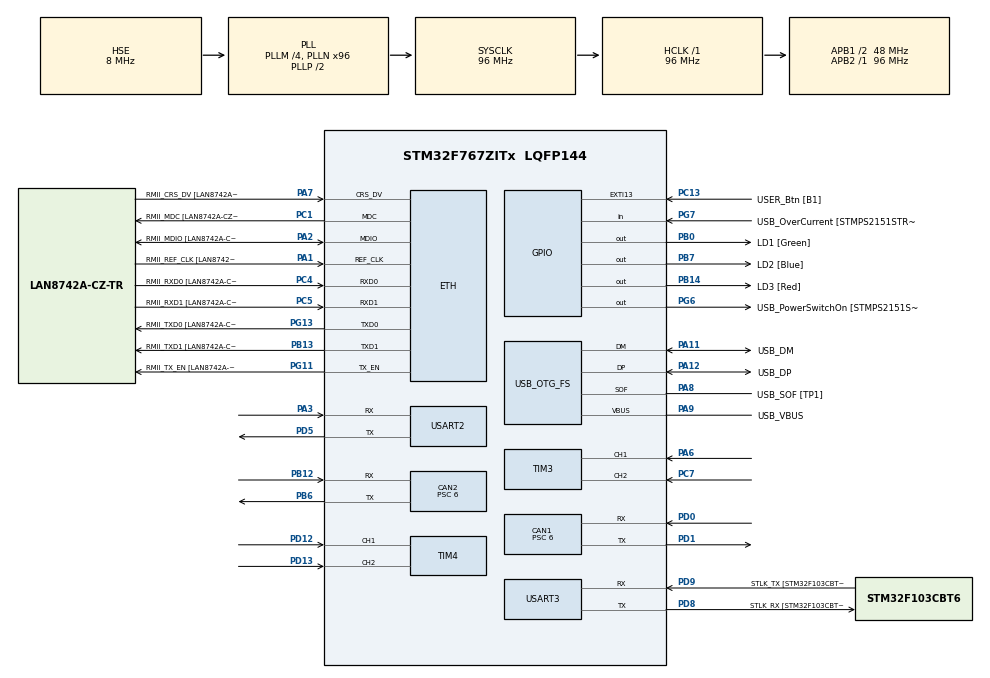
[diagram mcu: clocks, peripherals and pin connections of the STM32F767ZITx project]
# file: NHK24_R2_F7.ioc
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CAN1.BS1=CAN_BS1_6TQ
CAN1.CalculateBaudRate=1000000
CAN1.CalculateTimeBit=1000
CAN1.CalculateTimeQuantum=125.0
CAN1.Prescaler=6
CAN1.TXFP=ENABLE
CAN2.BS1=CAN_BS1_6TQ
CAN2.CalculateBaudRate=1000000
CAN2.CalculateTimeBit=1000
CAN2.CalculateTimeQuantum=125.0
CAN2.Prescaler=6
CAN2.TXFP=ENABLE
Dma.Request0=USART3_RX
Dma.Request1=USART3_TX
Dma.Request2=USART2_TX
Dma.USART2_TX.2.Direction=DMA_MEMORY_TO_PERIPH
Dma.USART2_TX.2.FIFOMode=DMA_FIFOMODE_DISABLE
Dma.USART2_TX.2.Instance=DMA1_Stream6
Dma.USART2_TX.2.MemDataAlignment=DMA_MDATAALIGN_BYTE
Dma.USART2_TX.2.MemInc=DMA_MINC_ENABLE
Dma.USART2_TX.2.Mode=DMA_NORMAL
Dma.USART2_TX.2.PeriphDataAlignment=DMA_PDATAALIGN_BYTE
Dma.USART2_TX.2.PeriphInc=DMA_PINC_DISABLE
Dma.USART2_TX.2.Priority=DMA_PRIORITY_LOW
Dma.USART3_RX.0.Direction=DMA_PERIPH_TO_MEMORY
Dma.USART3_RX.0.FIFOMode=DMA_FIFOMODE_DISABLE
Dma.USART3_RX.0.Instance=DMA1_Stream1
Dma.USART3_RX.0.MemDataAlignment=DMA_MDATAALIGN_BYTE
Dma.USART3_RX.0.MemInc=DMA_MINC_ENABLE
Dma.USART3_RX.0.Mode=DMA_CIRCULAR
Dma.USART3_RX.0.PeriphDataAlignment=DMA_PDATAALIGN_BYTE
Dma.USART3_RX.0.PeriphInc=DMA_PINC_DISABLE
Dma.USART3_RX.0.Priority=DMA_PRIORITY_VERY_HIGH
Dma.USART3_TX.1.Direction=DMA_MEMORY_TO_PERIPH
Dma.USART3_TX.1.FIFOMode=DMA_FIFOMODE_DISABLE
Dma.USART3_TX.1.Instance=DMA1_Stream3
Dma.USART3_TX.1.MemDataAlignment=DMA_MDATAALIGN_BYTE
Dma.USART3_TX.1.MemInc=DMA_MINC_ENABLE
Dma.USART3_TX.1.Mode=DMA_NORMAL
Dma.USART3_TX.1.PeriphDataAlignment=DMA_PDATAALIGN_BYTE
Dma.USART3_TX.1.PeriphInc=DMA_PINC_DISABLE
Dma.USART3_TX.1.Priority=DMA_PRIORITY_VERY_HIGH
ETH.MediaInterface=HAL_ETH_RMII_MODE
ETH.PHY_Name=LAN8742A_PHY_ADDRESS
ETH.PHY_Value=0
ETH.PhyAddress=0
FREERTOS.Tasks01=defaultTask,24,3000,StartDefaultTask,Default,NULL,Static,defaultTaskBuffer,defaultTaskControlBlock;LEDTask,8,128,StartLEDTask,Default,NULL,Static,LEDTaskBuffer,LEDTaskControlBlock
FREERTOS.Timers01=C620Timer,C620TimerCallback,osTimerPeriodic,Default,NULL,Static,C620TimerControlBlock
Mcu.Family=STM32F7
Mcu.Name=STM32F767ZITx
Mcu.Package=LQFP144
NVIC.CAN1_RX0_IRQn=true\:5\:0\:false\:false\:true\:true\:true\:true\:true
NVIC.CAN1_RX1_IRQn=true\:5\:0\:false\:false\:true\:true\:true\:true\:true
NVIC.CAN1_TX_IRQn=true\:5\:0\:false\:false\:true\:true\:true\:true\:true
NVIC.CAN2_RX0_IRQn=true\:5\:0\:false\:false\:true\:true\:true\:true\:true
NVIC.CAN2_RX1_IRQn=true\:5\:0\:false\:false\:true\:true\:true\:true\:true
NVIC.CAN2_TX_IRQn=true\:5\:0\:false\:false\:true\:true\:true\:true\:true
NVIC.DMA1_Stream1_IRQn=true\:5\:0\:false\:false\:true\:true\:false\:true\:true
NVIC.DMA1_Stream3_IRQn=true\:5\:0\:false\:false\:true\:true\:false\:true\:true
NVIC.DMA1_Stream6_IRQn=true\:5\:0\:false\:false\:true\:true\:false\:true\:true
NVIC.OTG_FS_IRQn=true\:5\:0\:false\:false\:true\:true\:false\:true\:true
NVIC.PriorityGroup=NVIC_PRIORITYGROUP_4
NVIC.TIM1_UP_TIM10_IRQn=true\:15\:0\:false\:false\:true\:false\:false\:true\:true
NVIC.TimeBase=TIM1_UP_TIM10_IRQn
NVIC.TimeBaseIP=TIM1
NVIC.USART2_IRQn=true\:5\:0\:false\:false\:true\:true\:true\:true\:true
NVIC.USART3_IRQn=true\:5\:0\:false\:false\:true\:true\:true\:true\:true
PA1.GPIO_Label=RMII_REF_CLK [LAN8742A-CZ-TR_REFCLK0]
PA1.Mode=RMII
PA1.Signal=ETH_REF_CLK
PA10.GPIO_Label=USB_ID
PA10.Signal=USB_OTG_FS_ID
PA11.GPIO_Label=USB_DM
PA11.Mode=Device_Only
PA11.Signal=USB_OTG_FS_DM
PA12.GPIO_Label=USB_DP
PA12.Mode=Device_Only
PA12.Signal=USB_OTG_FS_DP
PA13.GPIO_Label=TMS
PA13.Mode=Serial_Wire
PA13.Signal=SYS_JTMS-SWDIO
PA14.GPIO_Label=TCK
PA14.Mode=Serial_Wire
PA14.Signal=SYS_JTCK-SWCLK
PA2.GPIO_Label=RMII_MDIO [LAN8742A-CZ-TR_MDIO]
PA2.Mode=RMII
PA2.Signal=ETH_MDIO
PA3.Mode=Asynchronous
PA3.Signal=USART2_RX
PA6.Signal=S_TIM3_CH1
PA7.GPIO_Label=RMII_CRS_DV [LAN8742A-CZ-TR_CRS_DV]
PA7.Mode=RMII
PA7.Signal=ETH_CRS_DV
PA8.GPIO_Label=USB_SOF [TP1]
PA8.Mode=Activate_SOF_FS
PA8.Signal=USB_OTG_FS_SOF
PA9.GPIO_Label=USB_VBUS
PA9.Mode=Activate_VBUS
PA9.Signal=USB_OTG_FS_VBUS
PB0.GPIO_Label=LD1 [Green]
PB0.Signal=GPIO_Output
PB12.Mode=CAN_Activate
PB12.Signal=CAN2_RX
PB13.GPIO_Label=RMII_TXD1 [LAN8742A-CZ-TR_TXD1]
PB13.Mode=RMII
PB13.Signal=ETH_TXD1
PB14.GPIO_Label=LD3 [Red]
PB14.Signal=GPIO_Output
PB3.GPIO_Label=SWO
PB3.Signal=SYS_JTDO-SWO
PB6.Mode=CAN_Activate
PB6.Signal=CAN2_TX
PB7.GPIO_Label=LD2 [Blue]
PB7.Signal=GPIO_Output
PC1.GPIO_Label=RMII_MDC [LAN8742A-CZ-TR_MDC]
PC1.Mode=RMII
PC1.Signal=ETH_MDC
PC13.GPIO_Label=USER_Btn [B1]
PC13.Signal=GPXTI13
PC14/OSC32_IN.Mode=LSE-External-Oscillator
PC14/OSC32_IN.Signal=RCC_OSC32_IN
PC15/OSC32_OUT.Mode=LSE-External-Oscillator
PC15/OSC32_OUT.Signal=RCC_OSC32_OUT
PC4.GPIO_Label=RMII_RXD0 [LAN8742A-CZ-TR_RXD0]
PC4.Mode=RMII
PC4.Signal=ETH_RXD0
PC5.GPIO_Label=RMII_RXD1 [LAN8742A-CZ-TR_RXD1]
PC5.Mode=RMII
PC5.Signal=ETH_RXD1
PC7.Signal=S_TIM3_CH2
PD0.Mode=CAN_Activate
PD0.Signal=CAN1_RX
PD1.Mode=CAN_Activate
PD1.Signal=CAN1_TX
PD12.Signal=S_TIM4_CH1
PD13.Signal=S_TIM4_CH2
PD5.Mode=Asynchronous
PD5.Signal=USART2_TX
PD8.GPIO_Label=STLK_RX [STM32F103CBT6_PA3]
PD8.Mode=Asynchronous
PD8.Signal=USART3_TX
PD9.GPIO_Label=STLK_TX [STM32F103CBT6_PA2]
PD9.Mode=Asynchronous
PD9.Signal=USART3_RX
PG11.GPIO_Label=RMII_TX_EN [LAN8742A-CZ-TR_TXEN]
PG11.Mode=RMII
PG11.Signal=ETH_TX_EN
PG13.GPIO_Label=RMII_TXD0 [LAN8742A-CZ-TR_TXD0]
PG13.Mode=RMII
PG13.Signal=ETH_TXD0
PG6.GPIO_Label=USB_PowerSwitchOn [STMPS2151STR_EN]
PG6.Signal=GPIO_Output
PG7.GPIO_Label=USB_OverCurrent [STMPS2151STR_FAULT]
PG7.Signal=GPIO_Input
PH0/OSC_IN.GPIO_Label=MCO [STM32F103CBT6_PA8]
PH0/OSC_IN.Mode=HSE-External-Oscillator
PH0/OSC_IN.Signal=RCC_OSC_IN
PH1/OSC_OUT.Mode=HSE-External-Oscillator
PH1/OSC_OUT.Signal=RCC_OSC_OUT
ProjectManager.HeapSize=0x200
ProjectManager.StackSize=0x400
ProjectManager.TargetToolchain=STM32CubeIDE
RCC.48MHZClocksFreq_Value=24000000
RCC.AHBFreq_Value=96000000
RCC.APB1CLKDivider=RCC_HCLK_DIV2
RCC.APB1Freq_Value=48000000
RCC.APB1TimFreq_Value=96000000
RCC.APB2Freq_Value=96000000
RCC.APB2TimFreq_Value=96000000
RCC.CortexFreq_Value=96000000
RCC.HCLKFreq_Value=96000000
RCC.HSE_VALUE=8000000
RCC.HSI_VALUE=16000000
RCC.PLLM=4
RCC.PLLMUL=RCC_PLL_MUL9
RCC.PLLN=96
RCC.PLLQ=4
RCC.PRESCALERUSB=RCC_USBCLKSOURCE_PLL_DIV1_5
RCC.SYSCLKFreq_VALUE=96000000
RCC.SYSCLKSource=RCC_SYSCLKSOURCE_PLLCLK
RCC.SYSCLKSourceVirtual=RCC_SYSCLKSOURCE_PLLCLK
RCC.USBFreq_Value=48000000
RCC.VCOOutputFreq_Value=192000000
SH.S_TIM3_CH1.0=TIM3_CH1,Encoder_Interface
SH.S_TIM3_CH2.0=TIM3_CH2,Encoder_Interface
SH.S_TIM4_CH1.0=TIM4_CH1,Encoder_Interface
SH.S_TIM4_CH2.0=TIM4_CH2,Encoder_Interface
TIM3.EncoderMode=TIM_ENCODERMODE_TI12
USART2.VirtualMode-Asynchronous=VM_ASYNC
USART3.VirtualMode-Asynchronous=VM_ASYNC
USB_DEVICE.CLASS_NAME_FS=CDC
USB_DEVICE.VirtualMode-CDC_FS=Cdc
USB_DEVICE.VirtualModeFS=Cdc_FS
USB_OTG_FS.VirtualMode=Device_Only
VP_FREERTOS_VS_CMSIS_V2.Mode=CMSIS_V2
VP_SYS_VS_tim1.Mode=TIM1
VP_USB_DEVICE_VS_USB_DEVICE_CDC_FS.Mode=CDC_FS
board=NUCLEO-F767ZI

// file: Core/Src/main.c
/* USER CODE BEGIN Header */
/**
  ******************************************************************************
  * @file           : main.c
  * @brief          : Main program body
  ******************************************************************************
  * @attention
  *
  * Copyright (c) 2023 STMicroelectronics.
  * All rights reserved.
  *
  * This software is licensed under terms that can be found in the LICENSE file
  * in the root directory of this software component.
  * If no LICENSE file comes with this software, it is provided AS-IS.
  *
  ******************************************************************************
  */
/* USER CODE END Header */
#include "main.h"
#include "cmsis_os.h"
#include "can.h"
#include "dma.h"
#include "eth.h"
#include "tim.h"
#include "usart.h"
#include "usb_device.h"
#include "gpio.h"

/* USER CODE BEGIN Includes */
#include <rmw_microros/rmw_microros.h>
#include "can_utils.h"
#include "stdio.h"
#include "c620_utils.h"
/* USER CODE END Includes */

/* USER CODE BEGIN PD */
#define DISABLE_CAN_WAIT_CONNECT 0
#define DISABLE_C620_WAIT_CONNECT 1 //TODO modosu
/* USER CODE END PD */

void SystemClock_Config(void);
void MX_FREERTOS_Init(void);
/* USER CODE BEGIN PFP */
void SystemClock_Config(void);
void MX_FREERTOS_Init(void);
/* USER CODE BEGIN PFP */
#ifdef __GNUC__
#define PUTCHAR_PROTOTYPE int __io_putchar(uint8_t ch)
#else
#define PUTCHAR_PROTOTYPE int fputc(int ch, FILE *f)
#endif /* __GNUC__ */

PUTCHAR_PROTOTYPE {
    HAL_UART_Transmit(&huart2, &ch, 1, 500);
    return ch;
}

void HAL_CAN_TxMailbox0CompleteCallback(CAN_HandleTypeDef *hcan){
    C620_WhenTxMailboxCompleteCallbackCalled(hcan);
    CANLib_WhenTxMailbox0_1_2CompleteCallbackCalled(hcan);
}

void HAL_CAN_TxMailbox0AbortCallback(CAN_HandleTypeDef *hcan){
    C620_WhenTxMailboxAbortCallbackCalled(hcan);
    CANLib_WhenTxMailbox0_1_2AbortCallbackCalled(hcan);
}

void HAL_CAN_TxMailbox1CompleteCallback(CAN_HandleTypeDef *hcan){
    C620_WhenTxMailboxCompleteCallbackCalled(hcan);
    CANLib_WhenTxMailbox0_1_2CompleteCallbackCalled(hcan);
}

void HAL_CAN_TxMailbox1AbortCallback(CAN_HandleTypeDef *hcan){
    C620_WhenTxMailboxAbortCallbackCalled(hcan);
    CANLib_WhenTxMailbox0_1_2AbortCallbackCalled(hcan);
}

void HAL_CAN_TxMailbox2CompleteCallback(CAN_HandleTypeDef *hcan){
    C620_WhenTxMailboxCompleteCallbackCalled(hcan);
    CANLib_WhenTxMailbox0_1_2CompleteCallbackCalled(hcan);
}

void HAL_CAN_TxMailbox2AbortCallback(CAN_HandleTypeDef *hcan){
    C620_WhenTxMailboxAbortCallbackCalled(hcan);
    CANLib_WhenTxMailbox0_1_2AbortCallbackCalled(hcan);
}

void HAL_CAN_RxFifo0MsgPendingCallback(CAN_HandleTypeDef *hcan){
    WhenCANRxFifo0MsgPending(hcan, &num_of_devices);
}

void HAL_CAN_RxFifo1MsgPendingCallback(CAN_HandleTypeDef *hcan){
    C620_WhenCANRxFifo1MsgPending(hcan);
}
/* USER CODE END PFP */

int main(void)
{

  /* MCU Configuration--------------------------------------------------------*/

  /* Reset of all peripherals, Initializes the Flash interface and the Systick. */
  HAL_Init();

  /* Configure the system clock */
  SystemClock_Config();

  /* Initialize all configured peripherals */
  MX_GPIO_Init();
  MX_DMA_Init();
  MX_USART3_UART_Init();
  MX_ETH_Init();
  MX_CAN1_Init();
  MX_CAN2_Init();
  MX_USART2_UART_Init();
  MX_TIM3_Init();
  MX_TIM4_Init();
  /* USER CODE BEGIN 2 */
  setbuf(stdout, NULL);
  setbuf(stderr, NULL);

  /*
    * ===== CANLib Settings =====
    * */
   HAL_GPIO_TogglePin(GPIOB, GPIO_PIN_14);  // LD3 (RED) ON

   //HAL_GPIO_TogglePin(GPIOB, GPIO_PIN_7);

  printf("Start Initializing CAN System:Begin\n\r");

   num_of_devices.mcmd3 = NUM_OF_MCMD3; //1
//   num_of_devices.mcmd4 = 0;
   num_of_devices.mcmd4 = NUM_OF_MCMD4;  // TODO: こっちが正しい -> 0
   num_of_devices.air = 1;//NUM_OF_AIR;  // TODO: 1にする

   CAN_SystemInit(&hcan2); // F7のCAN通信のinit

   printf("Start Initializing CAN System:End\n\r");
   if(!DISABLE_CAN_WAIT_CONNECT)CAN_WaitConnect(&num_of_devices);
   HAL_GPIO_TogglePin(GPIOB, GPIO_PIN_7);  // LD2 (Blue) ON

//
// MCMDは2搭載
//
#define all
//#define debug
#define notz

#ifdef all
   if(NUM_OF_MCMD3 != 0) {
       // z rotation
#if !defined(debug)
#if !defined(notz)
       mcmd_handlers[0].device.node_type = NODE_MCMD3;
       mcmd_handlers[0].device.node_id = 1;
       mcmd_handlers[0].device.device_num = 1;
       mcmd_handlers[0].ctrl_param.ctrl_type = MCMD_CTRL_POS;
       mcmd_handlers[0].ctrl_param.feedback = MCMD_FB_ENABLE;
       mcmd_handlers[0].fb_type = MCMD_FB_POS;
       mcmd_handlers[0].limit_sw_type = LIMIT_SW_NO;
       mcmd_handlers[0].enc_dir = MCMD_DIR_FW;
       mcmd_handlers[0].rot_dir = MCMD_DIR_FW;
       mcmd_handlers[0].calib = CALIBRATION_DISABLE;
       mcmd_handlers[0].ctrl_param.gravity_compensation = GRAVITY_COMPENSATION_DISABLE;
       mcmd_handlers[0].calib_duty = -0.6f;
       mcmd_handlers[0].quant_per_unit = 90.0f / 1024.0f;
  //     mcmd_handlers[0].ctrl_param.accel_limit = ACCEL_LIMIT_ENABLE;
       mcmd_handlers[0].ctrl_param.accel_limit = ACCEL_LIMIT_DISABLE;//TODO:for debug
       mcmd_handlers[0].ctrl_param.accel_limit_size = 5.0f;
       mcmd_handlers[0].ctrl_param.PID_param.kp = 0.12f;

       MCMD_init(&mcmd_handlers[0]);
       osDelay(10);
       MCMD_Calib(&mcmd_handlers[0]);  // キャリブレーションを行う
       osDelay(10);
       MCMD_SetTarget(&mcmd_handlers[0], 0.0f);  // 目標値(0.0)を設定
       osDelay(10);
       MCMD_Control_Enable(&mcmd_handlers[0]);  // 制御開始
       osDelay(10);
#endif
    //   suction pad
       mcmd_handlers[1].device.node_type = NODE_MCMD3;
       mcmd_handlers[1].device.node_id = 1;
       mcmd_handlers[1].device.device_num = 0;
       mcmd_handlers[1].ctrl_param.ctrl_type = MCMD_CTRL_DUTY;
       mcmd_handlers[1].ctrl_param.feedback = MCMD_FB_ENABLE;
       mcmd_handlers[1].fb_type = MCMD_FB_POS;
       mcmd_handlers[1].limit_sw_type = LIMIT_SW_NO;
       mcmd_handlers[1].enc_dir = MCMD_DIR_FW;
       mcmd_handlers[1].rot_dir = MCMD_DIR_FW;
       mcmd_handlers[1].calib = CALIBRATION_DISABLE;
       mcmd_handlers[1].ctrl_param.gravity_compensation = GRAVITY_COMPENSATION_DISABLE;
       mcmd_handlers[1].calib_duty = -0.6f;
       mcmd_handlers[1].quant_per_unit = 90.0f / 1024.0f;
       mcmd_handlers[1].ctrl_param.accel_limit = ACCEL_LIMIT_ENABLE;
       mcmd_handlers[1].ctrl_param.accel_limit_size = 5.0f;
       mcmd_handlers[1].ctrl_param.PID_param.kp = 0.12f;

       MCMD_init(&mcmd_handlers[1]);
       MCMD_Calib(&mcmd_handlers[1]);  // キャリブレーションを行う
       MCMD_SetTarget(&mcmd_handlers[1], 0.0f);  // 目標値(0.0)を設定
       MCMD_Control_Enable(&mcmd_handlers[1]);  // 制御開始

#endif
   }

   if(NUM_OF_AIR != 0) {
       air_devices[0].node_type = NODE_AIR;
       air_devices[0].node_id = 1;
       air_devices[0].device_num = PORT_1;

       for (uint8_t j = 0; j < NUM_OF_AIR; j++) {
           for (uint8_t i = 0; i <= (uint8_t) PORT_8; i++) {
               air_devices[j].device_num = i
            		   ;
               AirCylinder_Init(&air_devices[j], AIR_OFF);
           }
       }

       air_devices[0].device_num = PORT_1; //port1に戻す

   }

   HAL_GPIO_TogglePin(GPIOB, GPIO_PIN_0);  // LD1 (GREEN) ON
   Init_C620_CAN_System(&hcan1);  // Init CAN System for C620
   C620_Init(c620_dev_info_global, num_of_c620);

   //TODO: 足回りの統一
    for(int i=0; i<num_of_c620; i++){
    	  c620_dev_info_global[i].device_id = i+1;//1スタートな事に注意
    	  c620_dev_info_global[i].ctrl_param.accel_limit = C620_ACCEL_LIMIT_ENABLE;
    	  //c620_dev_info_global[i].ctrl_param.use_internal_offset = C620_USE_OFFSET_POS_CALIB;//リミットスイッチを使ったCalibrationによって原点を決める場合
    	  c620_dev_info_global[i].ctrl_param.use_internal_offset = C620_USE_OFFSET_POS_INTERNAL;//最初の位置を原点とする場合
    	  c620_dev_info_global[i].ctrl_param.ctrl_type = C620_CTRL_VEL;//VELやCURRENT(電流)もある
    	  c620_dev_info_global[i].ctrl_param.accel_limit_size = 5.0f;
    	  c620_dev_info_global[i].ctrl_param.quant_per_rot = 12.0f * M_PI /19.0f;//M3508は19:1
    	  c620_dev_info_global[0].ctrl_param.rotation = C620_ROT_ACW;//半時計周り
    	  c620_dev_info_global[1].ctrl_param.rotation = C620_ROT_ACW;//半時計周り
    	  c620_dev_info_global[2].ctrl_param.rotation = C620_ROT_CW;//時計周り
    	  c620_dev_info_global[3].ctrl_param.rotation = C620_ROT_CW;//時計周り

    	  c620_dev_info_global[i].ctrl_param.pid_vel.kp = 0.5f;//位置制御の場合はpid_velに速度制御用のgainを設定する
    	  c620_dev_info_global[i].ctrl_param.pid_vel.ki = 0.0f;
    	  c620_dev_info_global[i].ctrl_param.pid_vel.kd = 0.0f;
    	  c620_dev_info_global[i].ctrl_param.pid_vel.kff = 0.0f;

    	  c620_dev_info_global[i].ctrl_param.pid.kp = 5.0f;//位置制御用
    	  c620_dev_info_global[i].ctrl_param.pid.ki = 0.0f;
    	  c620_dev_info_global[i].ctrl_param.pid.kd = 0.0f;
    	  c620_dev_info_global[i].ctrl_param.pid.kff = 0.0f;
      }

   for(int i=0; i<num_of_c620; i++)C620_SetTarget(&c620_dev_info_global[i], 0.0f);
   if(!DISABLE_C620_WAIT_CONNECT)C620_WaitForConnect(c620_dev_info_global, num_of_c620);
//    for(int i=0; i<num_of_c620; i++){
//        C620_Calibration(&c620_dev_info_global[i], -2.0f, SWITCH_NO, GPIOG, GPIO_PIN_1, &hcan1);
//        C620_ControlEnable(&(c620_dev_info_global[i]));
//    }
   for(int i=0; i<num_of_c620; i++)C620_ControlEnable(&(c620_dev_info_global[i]));

#endif

   HAL_GPIO_TogglePin(GPIOB, GPIO_PIN_14);  // LD3 (RED) -> OFF
   HAL_GPIO_TogglePin(GPIOB, GPIO_PIN_0);  // LD1 (GREEN) -> OFF
  /* USER CODE END 2 */

  /* Init scheduler */
  osKernelInitialize();  /* Call init function for freertos objects (in freertos.c) */
  MX_FREERTOS_Init();

  /* Start scheduler */
  osKernelStart();

  /* We should never get here as control is now taken by the scheduler */
  /* Infinite loop */
  while (1)
  {

  }
}

void SystemClock_Config(void)
{
  RCC_OscInitTypeDef RCC_OscInitStruct = {0};
  RCC_ClkInitTypeDef RCC_ClkInitStruct = {0};

  /** Configure LSE Drive Capability
  */
  HAL_PWR_EnableBkUpAccess();

  /** Configure the main internal regulator output voltage
  */
  __HAL_RCC_PWR_CLK_ENABLE();
  __HAL_PWR_VOLTAGESCALING_CONFIG(PWR_REGULATOR_VOLTAGE_SCALE3);

  /** Initializes the RCC Oscillators according to the specified parameters
  * in the RCC_OscInitTypeDef structure.
  */
  RCC_OscInitStruct.OscillatorType = RCC_OSCILLATORTYPE_HSE;
  RCC_OscInitStruct.HSEState = RCC_HSE_ON;
  RCC_OscInitStruct.PLL.PLLState = RCC_PLL_ON;
  RCC_OscInitStruct.PLL.PLLSource = RCC_PLLSOURCE_HSE;
  RCC_OscInitStruct.PLL.PLLM = 4;
  RCC_OscInitStruct.PLL.PLLN = 96;
  RCC_OscInitStruct.PLL.PLLP = RCC_PLLP_DIV2;
  RCC_OscInitStruct.PLL.PLLQ = 4;
  RCC_OscInitStruct.PLL.PLLR = 2;
  if (HAL_RCC_OscConfig(&RCC_OscInitStruct) != HAL_OK)
  {
    Error_Handler();
  }

  /** Activate the Over-Drive mode
  */
  if (HAL_PWREx_EnableOverDrive() != HAL_OK)
  {
    Error_Handler();
  }

  /** Initializes the CPU, AHB and APB buses clocks
  */
  RCC_ClkInitStruct.ClockType = RCC_CLOCKTYPE_HCLK|RCC_CLOCKTYPE_SYSCLK
                              |RCC_CLOCKTYPE_PCLK1|RCC_CLOCKTYPE_PCLK2;
  RCC_ClkInitStruct.SYSCLKSource = RCC_SYSCLKSOURCE_PLLCLK;
  RCC_ClkInitStruct.AHBCLKDivider = RCC_SYSCLK_DIV1;
  RCC_ClkInitStruct.APB1CLKDivider = RCC_HCLK_DIV2;
  RCC_ClkInitStruct.APB2CLKDivider = RCC_HCLK_DIV1;

  if (HAL_RCC_ClockConfig(&RCC_ClkInitStruct, FLASH_LATENCY_3) != HAL_OK)
  {
    Error_Handler();
  }
}

void HAL_TIM_PeriodElapsedCallback(TIM_HandleTypeDef *htim)
{
  if (htim->Instance == TIM1) {
    HAL_IncTick();
  }
}

void Error_Handler(void)
{
  __disable_irq();
  while (1)
  {
  }
}

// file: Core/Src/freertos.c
/* USER CODE BEGIN Header */
/**
  ******************************************************************************
  * File Name          : freertos.c
  * Description        : Code for freertos applications
  ******************************************************************************
  * @attention
  *
  * Copyright (c) 2023 STMicroelectronics.
  * All rights reserved.
  *
  * This software is licensed under terms that can be found in the LICENSE file
  * in the root directory of this software component.
  * If no LICENSE file comes with this software, it is provided AS-IS.
  *
  ******************************************************************************
  */
/* USER CODE END Header */

#include "FreeRTOS.h"
#include "task.h"
#include "main.h"
#include "cmsis_os.h"

/* USER CODE BEGIN Includes */
#include <rcl/rcl.h>
#include <rcl/error_handling.h>
#include <rosidl_runtime_c/primitives_sequence_functions.h>

#include <rclc/rclc.h>
#include <rclc/executor.h>
#include <uxr/client/transport.h>
#include <rmw_microxrcedds_c/config.h>
#include <rmw_microros/rmw_microros.h>
#include <std_msgs/msg/float64.h>
#include <std_msgs/msg/bool.h>
#include <geometry_msgs/msg/twist.h>
#include <geometry_msgs/msg/point.h>

#include <usart.h>

#include "can_utils.h"
#include "can.h"

#include "math.h"

#include "c620_utils.h"
/* USER CODE END Includes */

typedef StaticTask_t osStaticThreadDef_t;
typedef StaticTimer_t osStaticTimerDef_t;

/* USER CODE BEGIN PD */
#define RCCHECK(fn) { rcl_ret_t temp_rc = fn; if((temp_rc != RCL_RET_OK)){printf("Failed status on line %d: %d. Aborting.\n",__LINE__,(int)temp_rc);vTaskDelete(NULL);}}
#define RCSOFTCHECK(fn) { rcl_ret_t temp_rc = fn; if((temp_rc != RCL_RET_OK)){printf("Failed status on line %d: %d. Continuing.\n",__LINE__,(int)temp_rc);}}

bool cubemx_transport_open(struct uxrCustomTransport * transport);
bool cubemx_transport_close(struct uxrCustomTransport * transport);
size_t cubemx_transport_write(struct uxrCustomTransport* transport, const uint8_t * buf, size_t len, uint8_t * err);
size_t cubemx_transport_read(struct uxrCustomTransport* transport, uint8_t* buf, size_t len, int timeout, uint8_t* err);

void * microros_allocate(size_t size, void * state);
void microros_deallocate(void * pointer, void * state);
void * microros_reallocate(void * pointer, size_t size, void * state);
void * microros_zero_allocate(size_t number_of_elements, size_t size_of_element, void * state);
/* USER CODE END PD */

/* USER CODE BEGIN PM */

rcl_publisher_t publisher_enc;

//TODO:publisher

/* USER CODE END PM */

/* Definitions for defaultTask */
osThreadId_t defaultTaskHandle;
uint32_t defaultTaskBuffer[ 3000 ];
osStaticThreadDef_t defaultTaskControlBlock;
const osThreadAttr_t defaultTask_attributes = {
  .name = "defaultTask",
  .cb_mem = &defaultTaskControlBlock,
  .cb_size = sizeof(defaultTaskControlBlock),
  .stack_mem = &defaultTaskBuffer[0],
  .stack_size = sizeof(defaultTaskBuffer),
  .priority = (osPriority_t) osPriorityNormal,
};
/* Definitions for LEDTask */
osThreadId_t LEDTaskHandle;
uint32_t LEDTaskBuffer[ 128 ];
osStaticThreadDef_t LEDTaskControlBlock;
const osThreadAttr_t LEDTask_attributes = {
  .name = "LEDTask",
  .cb_mem = &LEDTaskControlBlock,
  .cb_size = sizeof(LEDTaskControlBlock),
  .stack_mem = &LEDTaskBuffer[0],
  .stack_size = sizeof(LEDTaskBuffer),
  .priority = (osPriority_t) osPriorityLow,
};
/* Definitions for C620Timer */
osTimerId_t C620TimerHandle;
osStaticTimerDef_t C620TimerControlBlock;
const osTimerAttr_t C620Timer_attributes = {
  .name = "C620Timer",
  .cb_mem = &C620TimerControlBlock,
  .cb_size = sizeof(C620TimerControlBlock),
};

/* USER CODE BEGIN FunctionPrototypes */

void pub_timer_callback_enc(rcl_timer_t * timer, int64_t last_call_time){
    RCLC_UNUSED(last_call_time);
    geometry_msgs__msg__Point feedback_msg;

    if (timer != NULL) {

        feedback_msg.x = 0.0f;
        feedback_msg.y = 0.0f;
//        feedback_msg.z.data = ;     //zはいらない
        RCSOFTCHECK(rcl_publish(&publisher_enc, &feedback_msg, NULL));

    }
}

void subscription_callback_air(const void * msgin)
{
	 // Cast received message to used type
	  const std_msgs__msg__Bool * air = (const std_msgs__msg__Bool *)msgin;
	  static Air_PortStatus_Typedef air_status[2];

	  MCMD_SetTarget(&(mcmd_handlers[1]), 0.4f);

	  air_status[0] = (air->data)? AIR_OFF : AIR_ON;
	  air_status[1] = (air->data)? AIR_OFF : AIR_ON;

	  if(air->data) HAL_GPIO_TogglePin(GPIOB, GPIO_PIN_0);

	  int i=0;
	  for(int j=0;j<2;j++){       //TODO: j<6は手動
		  air_devices[i].device_num = j;
		  AirCylinder_SendOutput(&air_devices[i], air_status[j]);
	  }

}

void subscription_callback_table(const void * msgin)
{
	 // Cast received message to used type
	  const std_msgs__msg__Float64 * zrot = (const std_msgs__msg__Float64 *)msgin;
	  static float zrot_rad;
	  zrot_rad = zrot->data;

	  MCMD_SetTarget(&(mcmd_handlers[0]), zrot_rad);

}

void subscription_callback(const void * msgin)
{
	 // Cast received message to used type
	  const geometry_msgs__msg__Twist * twist = (const geometry_msgs__msg__Twist *)msgin;
	  static float v_x,v_y,v_theta;

	  v_x = twist->linear.x;
	  v_y = twist->linear.y;
	  v_theta = twist->angular.z;

	  Linearmovement(c620_dev_info_global, v_x, v_y, v_theta);

	  if(v_x == 100.0) HAL_GPIO_TogglePin(GPIOB, GPIO_PIN_14);

}

//void subscription_callback_ems(const void * msgin)
//{
//	 // Cast received message to used type
//	  const std_msgs__msg__Bool * ems = (const std_msgs__msg__Bool *)msgin;
//
//
//
//}

//subscriber template

//void subscription_callback(const void * msgin)
//{
//	 // Cast received message to used type
//	  const std_msgs__msg__Int32MultiArray * rotvels = (const std_msgs__msg__Int32MultiArray *)msgin;
//
//
//
//}

/* USER CODE END FunctionPrototypes */

void StartDefaultTask(void *argument);
void StartLEDTask(void *argument);
void C620TimerCallback(void *argument);

extern void MX_USB_DEVICE_Init(void);
void MX_FREERTOS_Init(void); /* (MISRA C 2004 rule 8.1) */

void MX_FREERTOS_Init(void) {

  /* Create the timer(s) */
  /* creation of C620Timer */
  C620TimerHandle = osTimerNew(C620TimerCallback, osTimerPeriodic, NULL, &C620Timer_attributes);

  /* Create the thread(s) */
  /* creation of defaultTask */
  defaultTaskHandle = osThreadNew(StartDefaultTask, NULL, &defaultTask_attributes);

  /* creation of LEDTask */
  LEDTaskHandle = osThreadNew(StartLEDTask, NULL, &LEDTask_attributes);

}

void StartDefaultTask(void *argument)
{
  /* init code for USB_DEVICE */
  MX_USB_DEVICE_Init();
  /* USER CODE BEGIN StartDefaultTask */
	 rmw_uros_set_custom_transport(
			true,
			(void *) &huart3,
			cubemx_transport_open,
			cubemx_transport_close,
			cubemx_transport_write,
			cubemx_transport_read);

	// micro-ROS connection check
	HAL_GPIO_TogglePin(GPIOB, GPIO_PIN_14);  // LD3 (RED) -> ON
	while(1) {
		rmw_ret_t ping_result = rmw_uros_ping_agent(1000, 5);  // ping Agent
		if(ping_result == RMW_RET_OK){
			break;
		}
	}
	HAL_GPIO_TogglePin(GPIOB, GPIO_PIN_14);  // LD3 (RED) -> OFF

	rcl_allocator_t freeRTOS_allocator = rcutils_get_zero_initialized_allocator();
	freeRTOS_allocator.allocate = microros_allocate;
	freeRTOS_allocator.deallocate = microros_deallocate;
	freeRTOS_allocator.reallocate = microros_reallocate;
	freeRTOS_allocator.zero_allocate =  microros_zero_allocate;

	if (!rcutils_set_default_allocator(&freeRTOS_allocator)) {
		printf("Error on default allocators (line %d)\n", __LINE__);
	}
	printf("start Micro-ROS Task\n");

	// micro-ROS app
	setvbuf(stdout, NULL, _IONBF, BUFSIZ);
	rcl_init_options_t init_options = rcl_get_zero_initialized_init_options();
	rclc_support_t support;
	rcl_allocator_t allocator = rcl_get_default_allocator();
	rcl_node_t node;
	rcl_node_options_t node_ops = rcl_node_get_default_options();

	// // node setting
	// RCCHECK(rclc_support_init(&support, 0, NULL, &allocator));  //create init_options
	// RCCHECK(rclc_node_init_default(&node, "f7_mros_node_r2", "", &support));  // create node

	// node setting
	RCCHECK(rcl_init_options_init(&init_options, allocator));
	RCCHECK(rcl_init_options_set_domain_id(&init_options, 30)); // ROS_DOMAIN_IDの設定。今回は123としてる。
	rclc_support_init_with_options(&support, 0, NULL, &init_options, &allocator);
	RCCHECK(rclc_node_init_with_options(&node, "f7_mros_node_r2", "", &support, &node_ops));

	// create executor
	rclc_executor_t executor;
	unsigned int num_handlers = 4; // TODO : 忘れずに変更
	RCCHECK(rclc_executor_init(&executor, &support.context, num_handlers, &allocator));

	// create subscriber for air
	rcl_subscription_t subscriber_air;
	const char* sub_name_air= "mros_input_air_r2";
	std_msgs__msg__Bool actuator_msg_air;
	RCCHECK(rclc_subscription_init_default(&subscriber_air, &node, ROSIDL_GET_MSG_TYPE_SUPPORT(std_msgs, msg, Bool), sub_name_air));
	RCCHECK(rclc_executor_add_subscription(&executor, &subscriber_air, &actuator_msg_air, &subscription_callback_air, ON_NEW_DATA));

	// create subscriber for table
	rcl_subscription_t subscriber_table;
	const char* sub_name_table = "mros_input_table_r2";
	std_msgs__msg__Float64 actuator_msg_table;
	RCCHECK(rclc_subscription_init_default(&subscriber_table, &node, ROSIDL_GET_MSG_TYPE_SUPPORT(std_msgs, msg, Float64), sub_name_table));
	RCCHECK(rclc_executor_add_subscription(&executor, &subscriber_table, &actuator_msg_table, &subscription_callback_table, ON_NEW_DATA));

	// create subscriber for foots
	rcl_subscription_t subscriber_vel;
	const char* sub_name_f = "cmd_vel_r2";
	geometry_msgs__msg__Twist actuator_msg_f;
	RCCHECK(rclc_subscription_init_default(&subscriber_vel, &node, ROSIDL_GET_MSG_TYPE_SUPPORT(geometry_msgs, msg, Twist), sub_name_f));
	RCCHECK(rclc_executor_add_subscription(&executor, &subscriber_vel, &actuator_msg_f, &subscription_callback, ON_NEW_DATA));

    // publisher for enc
    const char* topic_name_pub_enc = "mros_output_enc_r2";
    RCCHECK(rclc_publisher_init_default(&publisher_enc, &node, ROSIDL_GET_MSG_TYPE_SUPPORT(geometry_msgs, msg, Point), topic_name_pub_enc));
    rcl_timer_t timer_enc;
    RCCHECK(rclc_timer_init_default(&timer_enc, &support, RCL_MS_TO_NS(45), pub_timer_callback_enc));
    RCCHECK(rclc_executor_add_timer(&executor, &timer_enc));

	//rclc_executor_spin(&executor);
  	while(1){
          // エグゼキューターを実行してリクエストを処理
          rclc_executor_spin_some(&executor, RCL_MS_TO_NS(100));
          osDelay(10);
    //      HAL_GPIO_TogglePin(GPIOB, GPIO_PIN_0);
  	}

	// free resources
	RCCHECK(rclc_executor_fini(&executor));
	RCCHECK(rcl_subscription_fini(&subscriber_air, &node));
	RCCHECK(rcl_subscription_fini(&subscriber_table, &node));
	RCCHECK(rcl_subscription_fini(&subscriber_vel, &node));
	RCCHECK(rcl_publisher_fini(&publisher_enc, &node));
	RCCHECK(rcl_timer_fini(&timer_enc));
	RCCHECK(rcl_node_fini(&node));

	//  /* Infinite loop */
	//  for(;;)
	//  {
	//    osDelay(1);
	//  }
  /* USER CODE END StartDefaultTask */
}

void StartLEDTask(void *argument)
{
  /* USER CODE BEGIN StartLEDTask */
  /* Infinite loop */
  for(;;)
  {
      HAL_GPIO_TogglePin(GPIOB, GPIO_PIN_7);  // LD2 (Blue)
      osDelay(10);
      C620_SendRequest(c620_dev_info_global, 4, 1000.0f, &hcan1);
  }
  /* USER CODE END StartLEDTask */
}

/* C620TimerCallback function */
void C620TimerCallback(void *argument)
{
  /* USER CODE BEGIN C620TimerCallback */
   // C620_SendRequest(c620_dev_info_global, 4, 1000.0f, &hcan1);
  /* USER CODE END C620TimerCallback */
}
